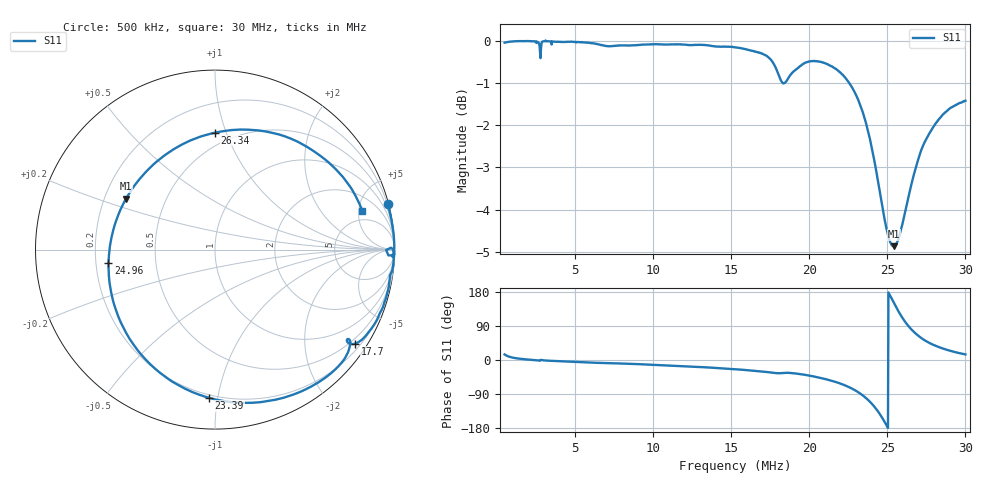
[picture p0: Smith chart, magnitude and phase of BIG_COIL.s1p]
!Keysight Technologies N9918A: A.12.56
!Date: Monday, 21 July 2025 03:54:03
!TimeZone: (UTC-08:00) Pacific Time (US & Canada)!Model: N9918A
!Serial: MY56072139
!GPS Latitude:
!GPS Longitude:
!GPS TimeStamp: 0001-01-01 00:00:00Z
!GPS Seconds Since Last Read: 0
!CHECKSUM:0317265332
!Correction: S11(ON U)
!S1P File: Measurement: S11:
# Hz S DB R 50
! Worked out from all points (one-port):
!   1001 points, 500 kHz to 30 MHz, reference 50 ohm
!   lowest |S11| = -4.9 dB at 25.43 MHz (marker M1), VSWR 3.66, Z = 14.5 + j12.3 ohm
!   |S11| at or under -10 dB: nowhere
!   S11 on the Smith chart (normalised r, x): 500 kHz: 0.16, +7.78; 17.7 MHz: 0.36, -3.25; 23.39 MHz: 0.18, -0.94; 24.96 MHz: 0.25, -0.06; 26.34 MHz: 0.40, +0.91; 30 MHz: 3.54, +5.49
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500000  -0.04 14.6
942500  -0.02 7.0
1562000  -0.01 2.9
2624000  -0.03 -1.0
4187500  -0.03 -3.5
7875000  -0.11 -9.2
1.15625e7  -0.09 -15.5
1.525e7  -0.16 -24.2
1.76985e7  -0.53 -33.8
1.82295e7  -0.96 -34.7
1.89375e7  -0.75 -34.8
1.98815e7  -0.50 -40.2
2.0914e7  -0.52 -49.1
2.18285e7  -0.70 -59.8
2.2625e7  -1.04 -73.1
2.3392e7  -1.65 -92.3
2.3805e7  -2.20 -106.7
2.4159e7  -2.81 -122.5
2.46015e7  -3.76 -147.8
2.49555e7  -4.46 -172.7
2.54275e7  -4.87 150.2
2.587e7  -4.49 117.6
2.63125e7  -3.78 91.7
2.6342e7  -3.72 90.1
2.70795e7  -2.69 60.9
2.77875e7  -2.14 43.1
2.8761e7  -1.68 27.5
3e7  -1.42 14.8
